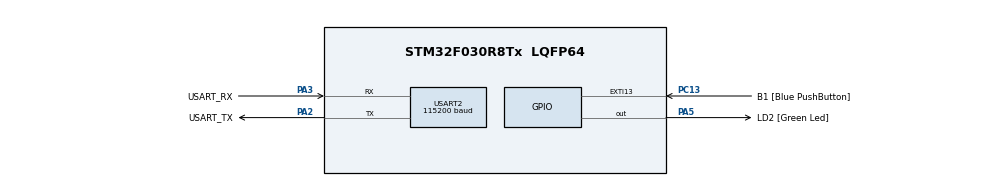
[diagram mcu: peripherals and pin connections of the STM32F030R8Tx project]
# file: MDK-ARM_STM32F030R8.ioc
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Mcu.Family=STM32F0
Mcu.Name=STM32F030R8Tx
Mcu.Package=LQFP64
NVIC.USART2_IRQn=true\:0\:0\:false\:false\:true\:true\:true\:true
PA13.GPIO_Label=TMS
PA13.Mode=Serial_Wire
PA13.Signal=SYS_SWDIO
PA14.GPIO_Label=TCK
PA14.Mode=Serial_Wire
PA14.Signal=SYS_SWCLK
PA2.GPIO_Label=USART_TX
PA2.GPIO_Mode=GPIO_MODE_AF_PP
PA2.GPIO_PuPd=GPIO_NOPULL
PA2.GPIO_Speed=GPIO_SPEED_FREQ_LOW
PA2.Mode=Asynchronous
PA2.Signal=USART2_TX
PA3.GPIO_Label=USART_RX
PA3.GPIO_Mode=GPIO_MODE_AF_PP
PA3.GPIO_PuPd=GPIO_NOPULL
PA3.GPIO_Speed=GPIO_SPEED_FREQ_LOW
PA3.Mode=Asynchronous
PA3.Signal=USART2_RX
PA5.GPIO_Label=LD2 [Green Led]
PA5.GPIO_Mode=GPIO_MODE_OUTPUT_PP
PA5.GPIO_PuPd=GPIO_NOPULL
PA5.GPIO_Speed=GPIO_SPEED_FREQ_LOW
PA5.Signal=GPIO_Output
PC13.GPIO_Label=B1 [Blue PushButton]
PC13.GPIO_ModeDefaultEXTI=GPIO_MODE_IT_FALLING
PC13.Signal=GPXTI13
PC14-OSC32_IN.Mode=LSE-External-Oscillator
PC14-OSC32_IN.Signal=RCC_OSC32_IN
PC15-OSC32_OUT.Mode=LSE-External-Oscillator
PC15-OSC32_OUT.Signal=RCC_OSC32_OUT
PF0-OSC_IN.Mode=HSE-External-Clock-Source
PF0-OSC_IN.Signal=RCC_OSC_IN
PF1-OSC_OUT.Signal=RCC_OSC_OUT
ProjectManager.HeapSize=0x200
ProjectManager.StackSize=0x400
ProjectManager.TargetToolchain=MDK-ARM V5.27
RCC.AHBFreq_Value=48000000
RCC.APB1Freq_Value=48000000
RCC.APB1TimFreq_Value=48000000
RCC.HCLKFreq_Value=48000000
RCC.PLLMUL=RCC_PLL_MUL12
RCC.SYSCLKFreq_VALUE=48000000
RCC.SYSCLKSource=RCC_SYSCLKSOURCE_PLLCLK
USART2.BaudRate=115200
USART2.VirtualMode-Asynchronous=VM_ASYNC
board=NUCLEO-F030R8

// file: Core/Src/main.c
/* USER CODE BEGIN Header */
/**
  ******************************************************************************
  * @file           : main.c
  * @brief          : Main program body
  ******************************************************************************
  * @attention
  *
  * <h2><center>&copy; Copyright (c) 2021 STMicroelectronics.
  * All rights reserved.</center></h2>
  *
  * This software component is licensed by ST under BSD 3-Clause license,
  * the "License"; You may not use this file except in compliance with the
  * License. You may obtain a copy of the License at:
  *                        opensource.org/licenses/BSD-3-Clause
  *
  ******************************************************************************
  */
//lint -e525 Warning 525: Negative indentation from line
/* USER CODE END Header */
#include "main.h"

/* USER CODE BEGIN Includes */
//#define TRICE_OFF // enable this line to disable trice code generation in this file object
#include "trice.h"

/* USER CODE END Includes */

/* USER CODE BEGIN PD */
#define TRICE_CHECK_CODE 1
/* USER CODE END PD */

void SystemClock_Config(void);
static void MX_GPIO_Init(void);
static void MX_USART2_UART_Init(void);
/* USER CODE BEGIN PFP */

//! serveUs should be called in intervals secure smaller than 1ms.
void UsDuty( void );
uint32_t milliSecond( void );

/* USER CODE END PFP */

/* USER CODE BEGIN 0 */
#if TRICE_CHECK_CODE
int beginTriceCheck = 20;
int limitTriceCheck = 400;
#endif
/* USER CODE END 0 */

int main(void)
{
  /* USER CODE BEGIN 1 */
    #ifdef TRICE_RTT0
    SEGGER_RTT_Write(0, 0, 0 ); //lint !e534 // This is just to force the INIT() call inside SEGGER_RTT.c what allows to use SEGGER_RTT_WriteNoLock instead of SEGGER_RTT_Write
    #endif

    TRICE_HEADLINE;

    #if TRICE_CHECK_CODE
        int triceCheckIndex = 0;
        trice( iD( 6041), "msg:Trice check range is [%u...%u)\n", beginTriceCheck, limitTriceCheck );
    #else // // #if TRICE_CHECK_CODE
        uint32_t loop = 0;
    #endif // #else // // #if TRICE_CHECK_CODE
  /* USER CODE END 1 */

  /* MCU Configuration--------------------------------------------------------*/

  /* Reset of all peripherals, Initializes the Flash interface and the Systick. */
  LL_APB1_GRP2_EnableClock(LL_APB1_GRP2_PERIPH_SYSCFG);
  LL_APB1_GRP1_EnableClock(LL_APB1_GRP1_PERIPH_PWR);

  /* USER CODE BEGIN Init */
//lint +e835
  /* USER CODE END Init */

  /* Configure the system clock */
  SystemClock_Config();

  /* USER CODE BEGIN SysInit */
    TRice( iD( 4114), "w: Hello! 👋🙂 \a\n" ); // with sound!
    TRice( iD( 4330), "w: Hello! 👋🙂 \a\n" ); // with sound!
    Trice( iD( 3394), "w: Hello! 👋🙂 \a\n" ); // with sound!
    Trice( iD( 2446), "w: Hello! 👋🙂 \a\n" ); // with sound!
    trice( iD( 5397), "w: Hello! 👋🙂 \a\n" ); // with sound!
    trice( iD( 7761), "w: Hello! 👋🙂 \a\n" ); // with sound!
    SysTick->CTRL |= SysTick_CTRL_TICKINT_Msk; // enable SysTick interrupt
  /* USER CODE END SysInit */

  /* Initialize all configured peripherals */
  MX_GPIO_Init();
  MX_USART2_UART_Init();
  /* USER CODE BEGIN 2 */

    #ifdef XTEA_ENCRYPT_KEY
        XTEAInitTable();
    #endif
    #ifdef TRICE_UARTA
    LL_USART_EnableIT_RXNE(TRICE_UARTA); // enable UART2 interrupt
    #endif
    #ifdef TRICE_UARTB
    LL_USART_EnableIT_RXNE(TRICE_UARTB);
    #endif

  /* USER CODE END 2 */

  /* Infinite loop */
  /* USER CODE BEGIN WHILE */
    for(;;){
        // check for external commands
        if( triceCommandFlag ){
            triceCommandFlag = 0;
            TRICE_S( Id( 5865), "att:Executing command %s ...\a\n", triceCommandBuffer ); // with sound!
            // do
            TRICE( ID( 6967), "att:...done\n" );
        }

        uint32_t ms = milliSecond();

        #if (TRICE_BUFFER == TRICE_RING_BUFFER) || (TRICE_BUFFER == TRICE_DOUBLE_BUFFER)
        // Serve deferred trice transfer every few ms. With an RTOS put this in a separate task.
        TriceTransfer(); // serve deferred output
        #endif // #if ( TRICE_BUFFER == TRICE_RING_BUFFER) || ( TRICE_BUFFER == TRICE_DOUBLE_BUFFER)

        // generate some trices every few ms
        static unsigned lastTricesTime = 0;
        const unsigned msInterval = 2; // change this value to change trice generation speed
        if( ms >= lastTricesTime + msInterval ){
            lastTricesTime = ms;
            #if TRICE_CHECK_CODE // with or without triceCheck.c
                TriceCheck(triceCheckIndex + beginTriceCheck); // generate trice messsage
                triceCheckIndex++;
                if( triceCheckIndex >= limitTriceCheck - beginTriceCheck ){
                    triceCheckIndex = 0; // triceCheck() loop handling
                }
                TriceDiagnostics( triceCheckIndex );
            #else

            TRice( iD( 2693), "msg:%32b loops\n", loop );
            loop++;
            #endif // #if TRICE_CHECK_CODE
        }
        UsDuty();
        __WFE(); // wait for event (sleep)
        UsDuty();
    }
    /* USER CODE END WHILE */

}

void SystemClock_Config(void)
{
  LL_FLASH_SetLatency(LL_FLASH_LATENCY_1);
  while(LL_FLASH_GetLatency() != LL_FLASH_LATENCY_1)
  {
  }
  LL_RCC_HSI_Enable();

   /* Wait till HSI is ready */
  while(LL_RCC_HSI_IsReady() != 1)
  {

  }
  LL_RCC_HSI_SetCalibTrimming(16);
  LL_RCC_PLL_ConfigDomain_SYS(LL_RCC_PLLSOURCE_HSI_DIV_2, LL_RCC_PLL_MUL_12);
  LL_RCC_PLL_Enable();

   /* Wait till PLL is ready */
  while(LL_RCC_PLL_IsReady() != 1)
  {

  }
  LL_RCC_SetAHBPrescaler(LL_RCC_SYSCLK_DIV_1);
  LL_RCC_SetAPB1Prescaler(LL_RCC_APB1_DIV_1);
  LL_RCC_SetSysClkSource(LL_RCC_SYS_CLKSOURCE_PLL);

   /* Wait till System clock is ready */
  while(LL_RCC_GetSysClkSource() != LL_RCC_SYS_CLKSOURCE_STATUS_PLL)
  {

  }
  LL_Init1msTick(48000000);
  LL_SetSystemCoreClock(48000000);
}

static void MX_USART2_UART_Init(void)
{

  LL_USART_InitTypeDef USART_InitStruct = {0};

  LL_GPIO_InitTypeDef GPIO_InitStruct = {0};

  /* Peripheral clock enable */
  LL_APB1_GRP1_EnableClock(LL_APB1_GRP1_PERIPH_USART2);

  LL_AHB1_GRP1_EnableClock(LL_AHB1_GRP1_PERIPH_GPIOA);
  /**USART2 GPIO Configuration
  PA2   ------> USART2_TX
  PA3   ------> USART2_RX
  */
  GPIO_InitStruct.Pin = USART_TX_Pin;
  GPIO_InitStruct.Mode = LL_GPIO_MODE_ALTERNATE;
  GPIO_InitStruct.Speed = LL_GPIO_SPEED_FREQ_LOW;
  GPIO_InitStruct.OutputType = LL_GPIO_OUTPUT_PUSHPULL;
  GPIO_InitStruct.Pull = LL_GPIO_PULL_NO;
  GPIO_InitStruct.Alternate = LL_GPIO_AF_1;
  LL_GPIO_Init(USART_TX_GPIO_Port, &GPIO_InitStruct);

  GPIO_InitStruct.Pin = USART_RX_Pin;
  GPIO_InitStruct.Mode = LL_GPIO_MODE_ALTERNATE;
  GPIO_InitStruct.Speed = LL_GPIO_SPEED_FREQ_LOW;
  GPIO_InitStruct.OutputType = LL_GPIO_OUTPUT_PUSHPULL;
  GPIO_InitStruct.Pull = LL_GPIO_PULL_NO;
  GPIO_InitStruct.Alternate = LL_GPIO_AF_1;
  LL_GPIO_Init(USART_RX_GPIO_Port, &GPIO_InitStruct);

  /* USART2 interrupt Init */
  NVIC_SetPriority(USART2_IRQn, 0);
  NVIC_EnableIRQ(USART2_IRQn);

  USART_InitStruct.BaudRate = 115200;
  USART_InitStruct.DataWidth = LL_USART_DATAWIDTH_8B;
  USART_InitStruct.StopBits = LL_USART_STOPBITS_1;
  USART_InitStruct.Parity = LL_USART_PARITY_NONE;
  USART_InitStruct.TransferDirection = LL_USART_DIRECTION_TX_RX;
  USART_InitStruct.HardwareFlowControl = LL_USART_HWCONTROL_NONE;
  USART_InitStruct.OverSampling = LL_USART_OVERSAMPLING_16;
  LL_USART_Init(USART2, &USART_InitStruct);
  LL_USART_DisableIT_CTS(USART2);
  LL_USART_ConfigAsyncMode(USART2);
  LL_USART_Enable(USART2);

}

static void MX_GPIO_Init(void)
{
  LL_EXTI_InitTypeDef EXTI_InitStruct = {0};
  LL_GPIO_InitTypeDef GPIO_InitStruct = {0};

  /* GPIO Ports Clock Enable */
  LL_AHB1_GRP1_EnableClock(LL_AHB1_GRP1_PERIPH_GPIOC);
  LL_AHB1_GRP1_EnableClock(LL_AHB1_GRP1_PERIPH_GPIOF);
  LL_AHB1_GRP1_EnableClock(LL_AHB1_GRP1_PERIPH_GPIOA);

  /**/
  LL_GPIO_ResetOutputPin(LD2_GPIO_Port, LD2_Pin);

  /**/
  LL_SYSCFG_SetEXTISource(LL_SYSCFG_EXTI_PORTC, LL_SYSCFG_EXTI_LINE13);

  /**/
  LL_GPIO_SetPinPull(B1_GPIO_Port, B1_Pin, LL_GPIO_PULL_NO);

  /**/
  LL_GPIO_SetPinMode(B1_GPIO_Port, B1_Pin, LL_GPIO_MODE_INPUT);

  /**/
  EXTI_InitStruct.Line_0_31 = LL_EXTI_LINE_13;
  EXTI_InitStruct.LineCommand = ENABLE;
  EXTI_InitStruct.Mode = LL_EXTI_MODE_IT;
  EXTI_InitStruct.Trigger = LL_EXTI_TRIGGER_FALLING;
  LL_EXTI_Init(&EXTI_InitStruct);

  /**/
  GPIO_InitStruct.Pin = LD2_Pin;
  GPIO_InitStruct.Mode = LL_GPIO_MODE_OUTPUT;
  GPIO_InitStruct.Speed = LL_GPIO_SPEED_FREQ_LOW;
  GPIO_InitStruct.OutputType = LL_GPIO_OUTPUT_PUSHPULL;
  GPIO_InitStruct.Pull = LL_GPIO_PULL_NO;
  LL_GPIO_Init(LD2_GPIO_Port, &GPIO_InitStruct);

}

/* USER CODE BEGIN 4 */
//lint +e835 +e534
/* USER CODE END 4 */

void Error_Handler(void)
{
    __disable_irq();
    for(;;){
    }
}
